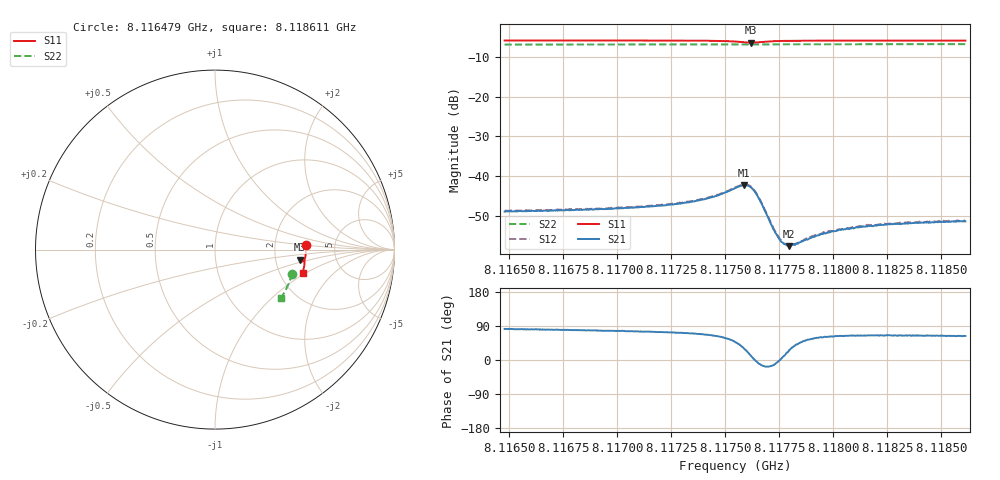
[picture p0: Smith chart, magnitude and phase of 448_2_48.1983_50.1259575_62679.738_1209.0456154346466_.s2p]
#  HZ  S  RI  R  50.00
! Rohde & Schwarz Vector Network Analyzer
! Rohde-Schwarz,ZNB20-2Port,1311601062101988,3.16
! Created: UTC 3/20/2024, 11:56:07 AM
! freq[Hz]  re:S11  im:S11  re:S21  im:S21  re:S12  im:S12  re:S22  im:S22
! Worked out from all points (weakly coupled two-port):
!   401 points, 8.116479 GHz to 8.118611 GHz, reference 50 ohm
!   highest |S21| = -42.28 dB at 8.117588 GHz (marker M1); lowest = -57.6 dB at 8.117796 GHz (marker M2)
!   lowest |S11| = -6.4 dB at 8.11762 GHz (marker M3), VSWR 2.82, Z = 138 - j19.8 ohm
!   |S11| at or under -10 dB: nowhere
!   |S22| runs from -6.9 to -6.8 dB; largest |S21 - S12| = 0.00022
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8.1164792e9  0.5066 0.0231  0.000505 0.00354  0.000573 0.00362  0.4298 -0.1336
8.1168363e9  0.5066 -0.00425  0.000747 0.00367  0.000841 0.00378  0.4228 -0.1574
8.1171934e9  0.5047 -0.0326  0.00119 0.00406  0.00126 0.00417  0.4142 -0.181
8.1173053e9  0.5029 -0.0422  0.00146 0.00436  0.00158 0.00443  0.4113 -0.1882
8.1174066e9  0.5003 -0.0521  0.00202 0.00475  0.00207 0.00482  0.4083 -0.1948
8.1174705e9  0.4971 -0.0588  0.00271 0.00509  0.00282 0.00515  0.4064 -0.1989
8.1175452e9  0.4875 -0.0663  0.00473 0.00521  0.00486 0.00536  0.404 -0.2037
8.1175878e9  0.4773 -0.0645  0.00667 0.00383  0.00681 0.00386  0.4022 -0.206
8.1176038e9  0.4743 -0.0607  0.00712 0.00269  0.00728 0.00267  0.4018 -0.2068
8.1176198e9  0.4734 -0.0555  0.00706 0.0013  0.00723 0.00129  0.4012 -0.2075
8.1176358e9  0.4753 -0.0506  0.00642 5.44e-05  0.00656 5.51e-05  0.4009 -0.2084
8.1176518e9  0.4791 -0.0474  0.00544 -0.000743  0.00556 -0.000786  0.4008 -0.2091
8.117721e9  0.4939 -0.051  0.00215 -0.000518  0.00221 -0.000531  0.3993 -0.2137
8.1177477e9  0.4963 -0.0548  0.00166 -7.17e-05  0.00171 -8.27e-05  0.3987 -0.2155
8.1177743e9  0.4976 -0.0583  0.00136 0.00028  0.00136 0.000335  0.398 -0.2171
8.1177957e9  0.4982 -0.0609  0.00119 0.000573  0.00124 0.000584  0.3972 -0.2186
8.1178383e9  0.4991 -0.0658  0.00104 0.000978  0.00107 0.001  0.396 -0.2213
8.1179022e9  0.499 -0.0724  0.000967 0.00141  0.00098 0.00147  0.3939 -0.2254
8.1180302e9  0.4979 -0.0838  0.000941 0.00191  0.000974 0.00192  0.3898 -0.2335
8.1181634e9  0.4963 -0.0948  0.00101 0.00216  0.00104 0.00217  0.3851 -0.2416
8.1182593e9  0.4948 -0.1022  0.00103 0.00226  0.00109 0.00229  0.3818 -0.2474
8.1186111e9  0.4885 -0.1285  0.00121 0.00241  0.00126 0.00249  0.3684 -0.2684
